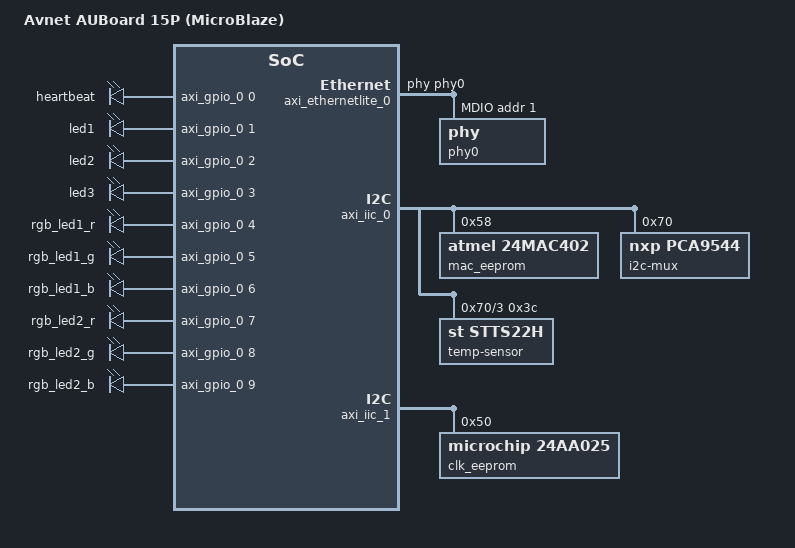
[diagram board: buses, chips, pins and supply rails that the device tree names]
/include/ "system-conf.dtsi"

#include "include/dt-bindings/input/input.h"
#include "include/dt-bindings/gpio/gpio.h"

/ {
	model = "Avnet AUBoard 15P (MicroBlaze)";

	leds {
		compatible = "gpio-leds";
		pinctrl-names = "default";
		status = "okay";

		led0 {
			label = "heartbeat";
			gpios = <&axi_gpio_0 0 GPIO_ACTIVE_HIGH>;
			linux,default-trigger = "heartbeat";
		};
		led1 {
			label = "led1";
			gpios = <&axi_gpio_0 1 GPIO_ACTIVE_HIGH>;
			default-state = "off";
		};
		led2 {
			label = "led2";
			gpios = <&axi_gpio_0 2 GPIO_ACTIVE_HIGH>;
			default-state = "off";
		};
		led3 {
			label = "led3";
			gpios = <&axi_gpio_0 3 GPIO_ACTIVE_HIGH>;
			default-state = "off";
		};

		rgb_led1_r {
			label = "rgb_led1_r";
			gpios = <&axi_gpio_0 4 GPIO_ACTIVE_HIGH>;
			default-state = "off";
		};
		rgb_led1_g {
			label = "rgb_led1_g";
			gpios = <&axi_gpio_0 5 GPIO_ACTIVE_HIGH>;
			default-state = "off";
		};
		rgb_led1_b {
			label = "rgb_led1_b";
			gpios = <&axi_gpio_0 6 GPIO_ACTIVE_HIGH>;
			default-state = "off";
		};

		rgb_led2_r {
			label = "rgb_led2_r";
			gpios = <&axi_gpio_0 7 GPIO_ACTIVE_HIGH>;
			default-state = "off";
		};
		rgb_led2_g {
			label = "rgb_led2_g";
			gpios = <&axi_gpio_0 8 GPIO_ACTIVE_HIGH>;
			default-state = "off";
		};
		rgb_led2_b {
			label = "rgb_led2_b";
			gpios = <&axi_gpio_0 9 GPIO_ACTIVE_HIGH>;
			default-state = "off";
		};
	};

	keys {
		compatible = "gpio-keys";
		pinctrl-names = "default";
		status = "okay";
	};
};

&axi_ethernetlite_0 {
	phy-handle = <&phy0>;
	axi_ethernetlite_0_mdio: mdio {
		#address-cells = <1>;
		#size-cells = <0>;
		phy0: phy@1 {
			device_type = "ethernet-phy";
			reg = <1>;
		};
	};
};

&axi_iic_0 {
    status = "okay";
    pinctrl-names = "default";

    mac_eeprom@58 {
        compatible = "atmel,24mac402";
        reg = <0x58>;
        pagesize = <256>;
    };

    i2c-mux@70 {
        compatible = "nxp,pca9544";
		#address-cells = <1>;
		#size-cells = <0>;
        reg = <0x70>;

		i2c@0 {
			#address-cells = <1>;
			#size-cells = <0>;
			reg = <0>;
		};
		i2c@1 {
			#address-cells = <1>;
			#size-cells = <0>;
			reg = <1>;
		};
		i2c@2 {
			#address-cells = <1>;
			#size-cells = <0>;
			reg = <2>;
		};
		i2c@3 {
			#address-cells = <1>;
			#size-cells = <0>;
			reg = <3>;

			temp-sensor@3c {
				compatible = "st,stts22h";
				reg = <0x3c>;
			};
		};
    };
};

&axi_iic_1 {
    status = "okay";
    pinctrl-names = "default";

    clk_eeprom@50 {
        compatible = "microchip,24aa025", "atmel,24c02";
        reg = <0x50>;
        pagesize = <16>;
    };
};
